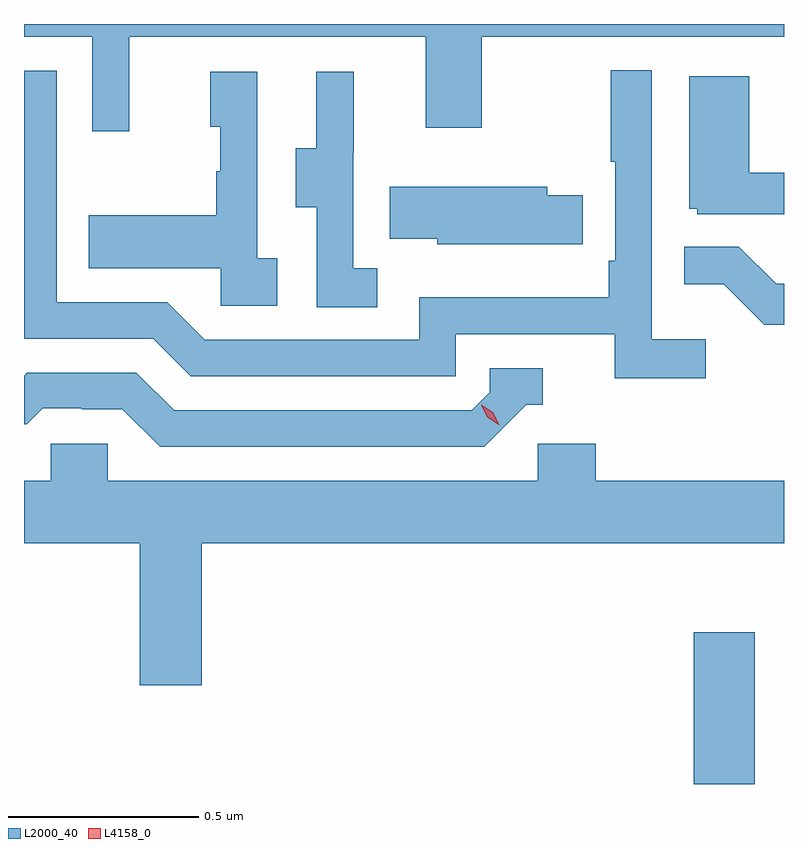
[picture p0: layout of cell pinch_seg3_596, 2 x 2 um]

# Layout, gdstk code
import gdstk
lib = gdstk.Library(unit=1e-6, precision=1e-09)
def R(c, l, rs):  # rectangles x0, y0, x1, y1
    for r in rs: c.add(gdstk.rectangle(r[:2], r[2:], *l))
def P(c, l, *ps):  # polygons
    for p in ps: c.add(gdstk.Polygon(p, *l))
L2000_40 = (2000, 40)
L4158_0 = (4158, 0)

pinch_seg3_596 = lib.new_cell('pinch_seg3_596')
R(pinch_seg3_596, L2000_40, [(1065.566,700.282,1065.727,700.681)])
P(pinch_seg3_596, L2000_40, [(1064.081,702.248),(1064.861,702.248),(1064.861,702.009),(1065.009,702.009),(1065.009,702.248),(1065.804,702.248),(1065.804,702.282),(1063.804,702.282),(1063.804,702.248),(1063.983,702.248),(1063.983,702),(1064.081,702)],
  [(1065.598,701.452),(1065.456,701.452),(1065.456,702.16),(1065.348,702.16),(1065.348,701.92),(1065.36,701.92),(1065.36,701.659),(1065.343,701.659),(1065.343,701.563),(1064.844,701.563),(1064.844,701.451),(1064.28,701.451),(1064.181,701.55),(1063.89,701.55),(1063.89,702.159),(1063.804,702.159),(1063.804,701.454),(1064.144,701.454),(1064.243,701.355),(1064.94,701.355),(1064.94,701.466),(1065.359,701.466),(1065.359,701.35),(1065.598,701.35)],
  [(1064.734,701.639),(1064.67,701.639),(1064.67,701.943),(1064.672,701.943),(1064.672,702.157),(1064.573,702.157),(1064.573,701.955),(1064.519,701.955),(1064.519,701.8),(1064.574,701.8),(1064.574,701.536),(1064.734,701.536)],
  [(1064.47,701.666),(1064.418,701.666),(1064.418,702.157),(1064.294,702.157),(1064.294,702.012),(1064.32,702.012),(1064.32,701.894),(1064.31,701.894),(1064.31,701.779),(1063.975,701.779),(1063.975,701.639),(1064.322,701.639),(1064.322,701.541),(1064.47,701.541)],
  [(1065.804,701.89),(1065.712,701.89),(1065.712,702.145),(1065.554,702.145),(1065.554,701.796),(1065.576,701.796),(1065.576,701.781),(1065.804,701.781)],
  [(1065.164,701.703),(1065.275,701.703),(1065.275,701.832),(1065.181,701.832),(1065.181,701.854),(1064.767,701.854),(1064.767,701.717),(1064.892,701.717),(1064.892,701.702),(1065.164,701.702)],
  [(1065.804,701.598),(1065.783,701.598),(1065.685,701.696),(1065.541,701.696),(1065.541,701.597),(1065.645,701.597),(1065.752,701.49),(1065.804,701.49)],
  [(1065.126,701.28),(1065.169,701.28),(1065.169,701.376),(1065.03,701.376),(1065.03,701.313),(1064.982,701.265),(1064.199,701.265),(1064.1,701.364),(1063.811,701.364),(1063.804,701.357),(1063.804,701.229),(1063.811,701.229),(1063.853,701.271),(1063.956,701.271),(1063.956,701.268),(1064.063,701.268),(1064.162,701.169),(1065.015,701.169)],
  [(1064.272,700.916),(1065.804,700.916),(1065.804,701.08),(1065.308,701.08),(1065.308,701.178),(1065.156,701.178),(1065.156,701.08),(1064.025,701.08),(1064.025,701.178),(1063.875,701.178),(1063.875,701.08),(1063.804,701.08),(1063.804,700.916),(1064.108,700.916),(1064.108,700.542),(1064.272,700.542)])
P(pinch_seg3_596, L4158_0, [(1065.053,701.227),(1065.023,701.247),(1065.007,701.28),(1065.007,701.28),(1065.007,701.28),(1065.038,701.26),(1065.054,701.228),(1065.054,701.227)])

lib.write_gds('pinch_seg3_596.gds')
